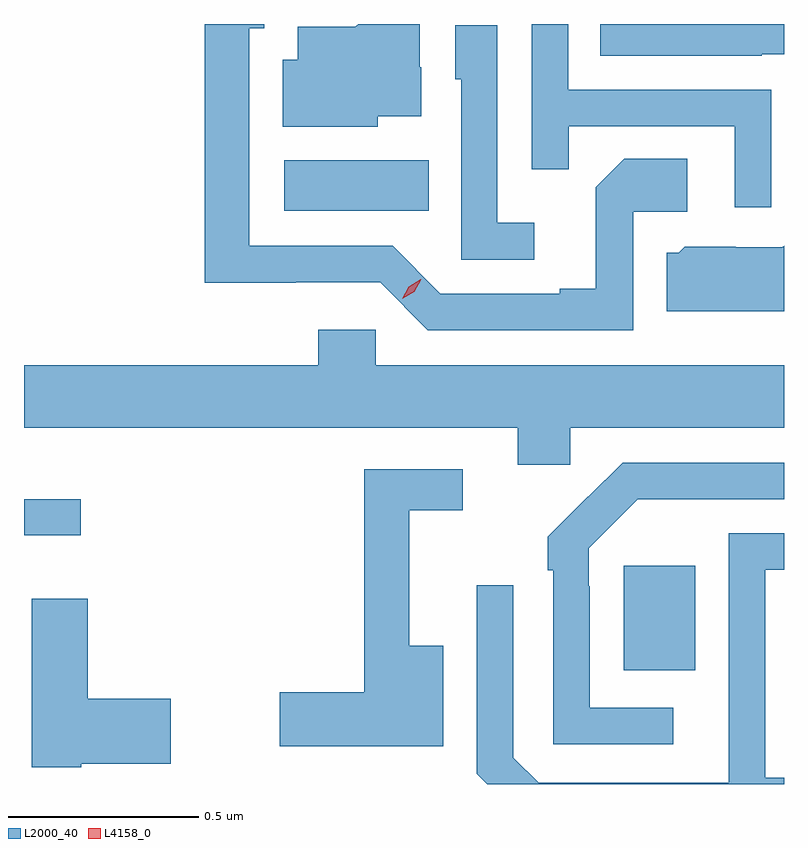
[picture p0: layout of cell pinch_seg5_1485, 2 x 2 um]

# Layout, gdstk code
import gdstk
lib = gdstk.Library(unit=1e-6, precision=1e-09)
def R(c, l, rs):  # rectangles x0, y0, x1, y1
    for r in rs: c.add(gdstk.rectangle(r[:2], r[2:], *l))
def P(c, l, *ps):  # polygons
    for p in ps: c.add(gdstk.Polygon(p, *l))
L2000_40 = (2000, 40)
L4158_0 = (4158, 0)

pinch_seg5_1485 = lib.new_cell('pinch_seg5_1485')
R(pinch_seg5_1485, L2000_40, [(127.391,890.753,127.579,891.028), (125.813,891.108,125.962,891.204), (126.498,891.962,126.878,892.096)])
P(pinch_seg5_1485, L2000_40, [(126.744,892.211),(126.859,892.211),(126.859,892.34),(126.855,892.34),(126.855,892.454),(126.692,892.454),(126.685,892.447),(126.533,892.447),(126.533,892.36),(126.494,892.36),(126.494,892.184),(126.744,892.184)],
  [(127.779,892.281),(127.245,892.281),(127.245,892.454),(127.149,892.454),(127.149,892.072),(127.247,892.072),(127.247,892.185),(127.683,892.185),(127.683,891.972),(127.779,891.972)],
  [(127.416,891.96),(127.558,891.96),(127.558,892.1),(127.393,892.1),(127.317,892.024),(127.317,891.757),(127.223,891.757),(127.223,891.744),(126.909,891.744),(126.783,891.87),(126.406,891.87),(126.406,892.443),(126.445,892.443),(126.445,892.454),(126.288,892.454),(126.288,891.773),(126.528,891.773),(126.528,891.774),(126.75,891.774),(126.876,891.648),(127.416,891.648)],
  [(127.754,892.374),(127.813,892.374),(127.813,892.454),(127.33,892.454),(127.33,892.371),(127.754,892.371)],
  [(127.156,891.931),(127.059,891.931),(127.059,892.451),(126.948,892.451),(126.948,892.308),(126.963,892.308),(126.963,891.834),(127.156,891.834)],
  [(127.813,891.871),(127.809,891.867),(127.686,891.867),(127.686,891.868),(127.552,891.868),(127.536,891.852),(127.505,891.852),(127.505,891.698),(127.813,891.698)],
  [(127.251,891.392),(127.813,891.392),(127.813,891.556),(126.738,891.556),(126.738,891.649),(126.587,891.649),(126.587,891.556),(125.813,891.556),(125.813,891.392),(127.112,891.392),(127.112,891.294),(127.251,891.294)],
  [(127.522,890.655),(127.302,890.655),(127.302,890.975),(127.299,890.975),(127.299,891.075),(127.428,891.204),(127.813,891.204),(127.813,891.3),(127.388,891.3),(127.297,891.209),(127.296,891.21),(127.191,891.105),(127.191,891.017),(127.206,891.017),(127.206,890.559),(127.522,890.559)],
  [(126.916,890.818),(126.827,890.818),(126.827,891.174),(126.967,891.174),(126.967,891.282),(126.709,891.282),(126.709,890.696),(126.486,890.696),(126.486,890.554),(126.916,890.554)],
  [(127.813,890.47),(127.764,890.47),(127.764,891.018),(127.813,891.018),(127.813,891.114),(127.668,891.114),(127.668,890.657),(127.667,890.657),(127.667,890.457),(127.167,890.457),(127.101,890.523),(127.101,890.977),(127.005,890.977),(127.005,890.481),(127.032,890.454),(127.813,890.454)],
  [(125.964,890.507),(126.199,890.507),(126.199,890.678),(125.981,890.678),(125.981,890.941),(125.834,890.941),(125.834,890.498),(125.964,890.498)])
P(pinch_seg5_1485, L4158_0, [(126.808,891.731),(126.808,891.731),(126.826,891.763),(126.857,891.782),(126.858,891.782),(126.858,891.782),(126.84,891.749),(126.808,891.731)])

lib.write_gds('pinch_seg5_1485.gds')
